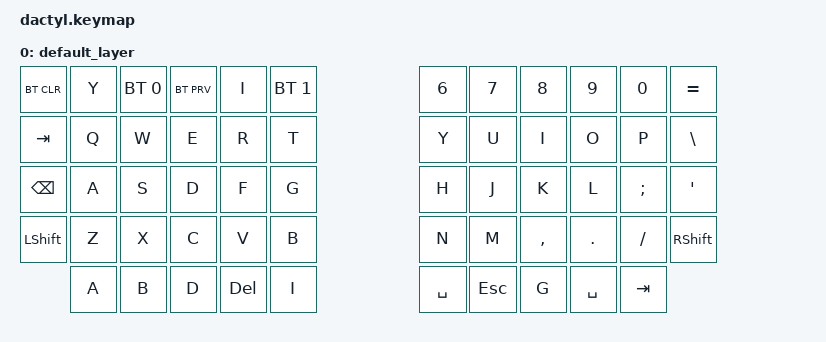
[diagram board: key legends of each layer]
#include <behaviors.dtsi>
#include <dt-bindings/zmk/keys.h>
#include <dt-bindings/zmk/bt.h>

/ {
    keymap {
        compatible = "zmk,keymap";

        default_layer {
// --------------------------------------------------------------------------------------------------------------------------------------------------------------------
// |   ESC   |    1    |    2    |    3    |    4    |    5    |                                  |    6    |    7    |    8    |    9    |    0    |    =    |
// |   TAB   |    Q    |    W    |    E    |    R    |    T    |                                  |    Y    |    U    |    I    |    O    |    P    |    \    |
// |   BSPC  |    A    |    S    |    D    |    F    |    G    |                                  |    H    |    J    |    K    |    L    |    ;    |    '    |
// |  SHIFT  |    Z    |    X    |    C    |    V    |    B    |                                  |    N    |    M    |    ,    |    .    |    /    |  R CTRL |
//           |   GUI   |   DEL   | RETURN  |  SPACE  | ESCAPE  |                                  |  R ALT  |
            bindings = <
    &bt BT_CLR  &kp Y       &bt BT_SEL 0   &bt BT_PRV  &kp I       &bt BT_SEL 1                           &kp N6    &kp N7    &kp N8    &kp N9       &kp N0    &kp EQUAL
    &kp TAB     &kp Q       &kp W          &kp E       &kp R       &kp T                                  &kp Y     &kp U     &kp I     &kp O        &kp P     &kp BSLH
    &kp BSPC    &kp A       &kp S          &kp D       &kp F       &kp G                                  &kp H     &kp J     &kp K     &kp L        &kp SEMI  &kp SQT
    &kp LSHIFT  &kp Z       &kp X          &kp C       &kp V       &kp B                                  &kp N     &kp M     &kp COMMA &kp DOT      &kp FSLH  &kp RSHIFT
                &kp A       &kp B          &kp D       &kp DEL     &kp I                                  &kp SPACE &kp ESC   &kp G     &kp SPACE    &kp TAB
            >;
        };
    };
};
